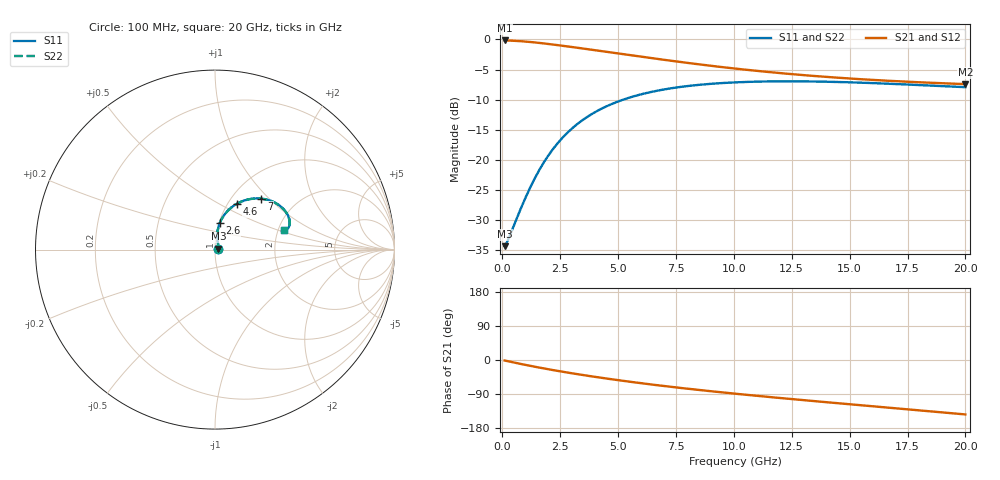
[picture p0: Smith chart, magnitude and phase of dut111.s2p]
! Touchstone file exported from HFSS 2024.1.0
!  File:  C:/UserFiles/LocalFiles/RDL_TSV_Batchsim/temp_RDL_TSV_111_1779422280.aedt
!  Generated:  12:11:15 PM May 22, 2026
!  Design:  RDL_TSV
!  Project:  temp_RDL_TSV_111_1779422280
!  Setup:  Setup1
!  Solution:  Sweep
! Variables:
!  dtsv = 9.39um
!  hbump = 3um
!  htsv = 54.34um
!  ldown = 201.11um
!  lrdl = 355.87um
!  p = 40
!  p1 = 55.4um
!  rhole = 10um
!  subl = 2026.81um
!  t = 450um
!  tdown = 4.53um
!  trdl = 2.5um
!  viad = 10um
!  wdown = 21.52um
!  wrdl = 12.56um
!  xbump = 18um
# GHz S MA R 50.000000
! Terminal data exported
! Port[1] = TM1_1_T1
! Port[2] = TM1_4_T1
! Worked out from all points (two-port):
!   200 points, 100 MHz to 20 GHz, reference 50 ohm
!   highest |S21| = -0.16 dB at 100 MHz (marker M1); lowest = -7.4 dB at 20 GHz (marker M2)
!   |S21| within 3 dB of the highest: start of sweep to 6.562 GHz
!   lowest |S11| = -34.4 dB at 100 MHz (marker M3), VSWR 1.04, Z = 51.9 + j0.463 ohm
!   |S11| at or under -10 dB: start of sweep to 5.234 GHz
!   |S22| runs from -34.4 to -7.0 dB; largest |S21 - S12| = 1.2e-14
!   S11 on the Smith chart (normalised r, x): 100 MHz: 1.04, +0.01; 2.6 GHz: 1.01, +0.31; 4.6 GHz: 1.10, +0.61; 7 GHz: 1.35, +0.90; 20 GHz: 2.16, +0.55
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0.1  0.01904 13.5  0.9812 -1.3  0.9812 -1.3  0.01904 13.5
! Gamma 0 0 0 0
! Port Impedance 50 0 50 0
0.2  0.02054 25.6  0.9804 -2.7  0.9804 -2.7  0.02054 25.6
0.3  0.02272 35.5  0.979 -4.0  0.979 -4.0  0.02272 35.5
1  0.04809 71.8  0.9607 -12.9  0.9607 -12.9  0.04809 71.8
1.5  0.07581 80.2  0.9405 -18.9  0.9405 -18.9  0.07581 80.2
2  0.109 81.9  0.9169 -24.5  0.9169 -24.5  0.109 81.8
2.3  0.1304 81.1  0.9019 -27.8  0.9019 -27.8  0.1303 81.1
2.6  0.152 79.7  0.8865 -30.9  0.8865 -30.9  0.152 79.6
3  0.1808 77.1  0.8658 -35.0  0.8658 -35.0  0.1807 77.0
3.5  0.2155 73.2  0.84 -39.8  0.84 -39.8  0.2154 73.2
4  0.248 69.2  0.8145 -44.5  0.8145 -44.5  0.2479 69.2
4.6  0.2834 64.4  0.7846 -49.8  0.7846 -49.8  0.2833 64.4
5.6  0.3331 56.9  0.737 -58.1  0.737 -58.1  0.3329 56.8
6.8  0.3781 48.9  0.6847 -67.3  0.6847 -67.3  0.3779 48.8
7  0.3842 47.7  0.6765 -68.8  0.6765 -68.8  0.384 47.6
8.5  0.4192 39.5  0.6206 -79.1  0.6206 -79.1  0.419 39.5
10.1  0.4398 32.5  0.5713 -89.2  0.5713 -89.2  0.4396 32.4
11.7  0.448 26.9  0.5314 -98.6  0.5314 -98.6  0.4477 26.9
13.4  0.4471 22.3  0.498 -108.1  0.498 -108.1  0.4468 22.2
15  0.44 19.1  0.4733 -116.8  0.4733 -116.8  0.4397 19.0
16.7  0.4282 16.7  0.4528 -125.9  0.4528 -125.9  0.4279 16.7
20  0.4009 15.5  0.4251 -143.6  0.4251 -143.6  0.4006 15.5
